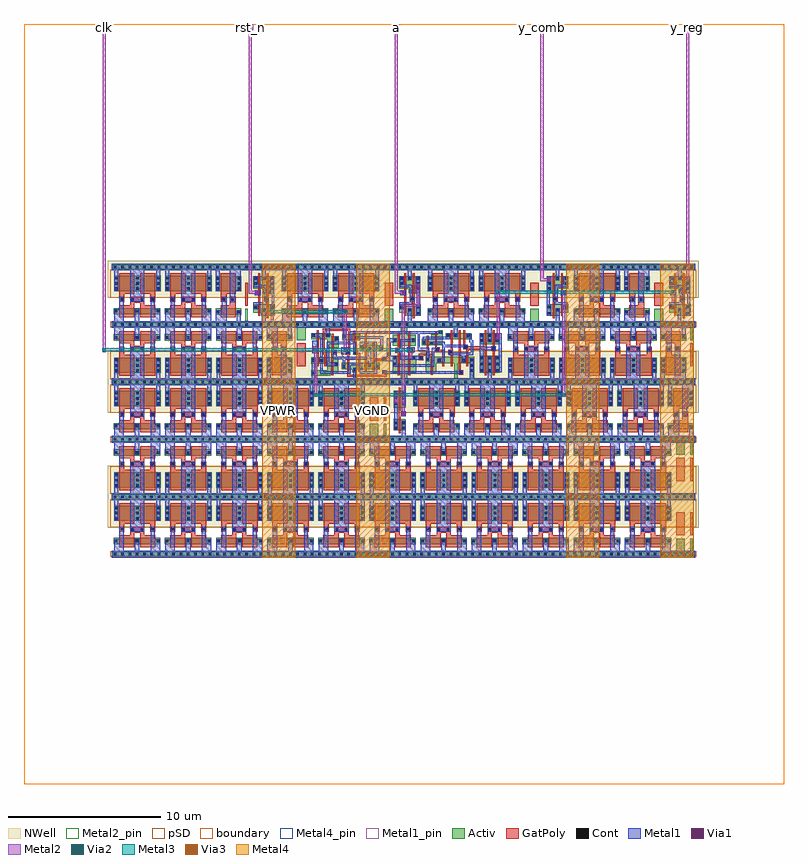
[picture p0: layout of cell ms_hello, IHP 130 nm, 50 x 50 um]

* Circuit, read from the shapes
.subckt ms_hello VGND VPWR a clk rst_n y_comb y_reg
XM1 VGND VPWR VGND VGND sg13_lv_nmos w=0.42u l=1u m=95
XM2 VGND rst_n n1 VGND sg13_lv_nmos w=0.55u l=0.13u
XM3 sg13g2_dfrbpq_1_16/RESET_B n1 VGND VGND sg13_lv_nmos w=0.74u l=0.13u
XM4 n2 sg13g2_buf_1_30/A n3 VGND sg13_lv_nmos w=0.42u l=0.13u
XM5 VGND sg13g2_dfrbpq_1_16/RESET_B n2 VGND sg13_lv_nmos w=0.42u l=0.13u
XM6 n4 n5 VGND VGND sg13_lv_nmos w=0.74u l=0.13u
XM7 n6 sg13g2_dfrbpq_1_16/RESET_B VGND VGND sg13_lv_nmos w=0.42u l=0.13u
XM8 n7 n4 n6 VGND sg13_lv_nmos w=0.42u l=0.13u
XM9 n5 n8 n3 VGND sg13_lv_nmos w=0.42u l=0.13u
XM10 n7 n9 n5 VGND sg13_lv_nmos w=0.42u l=0.13u
XM11 VGND n8 n9 VGND sg13_lv_nmos w=0.74u l=0.13u
XM12 VGND sg13g2_inv_1_15/A sg13g2_buf_1_30/A VGND sg13_lv_nmos w=0.74u l=0.13u
XM13 VGND a n10 VGND sg13_lv_nmos w=0.55u l=0.13u
XM14 n8 clk VGND VGND sg13_lv_nmos w=0.74u l=0.13u
XM15 sg13g2_inv_1_15/A n10 VGND VGND sg13_lv_nmos w=0.74u l=0.13u
XM16 n11 n8 n12 VGND sg13_lv_nmos w=0.42u l=0.13u
XM17 n4 n9 n11 VGND sg13_lv_nmos w=0.74u l=0.13u
XM18 VGND n13 n12 VGND sg13_lv_nmos w=0.42u l=0.13u
XM19 n14 sg13g2_dfrbpq_1_16/RESET_B VGND VGND sg13_lv_nmos w=0.42u l=0.13u
XM20 n13 n11 n14 VGND sg13_lv_nmos w=0.42u l=0.13u
XM21 VGND n11 n15 VGND sg13_lv_nmos w=0.74u l=0.13u
XM22 sg13g2_buf_1_28/A n15 VGND VGND sg13_lv_nmos w=0.74u l=0.13u
XM23 VGND n16 y_comb VGND sg13_lv_nmos w=0.74u l=0.13u
XM24 n16 sg13g2_buf_1_30/A VGND VGND sg13_lv_nmos w=0.55u l=0.13u
XM25 VGND sg13g2_buf_1_28/A n17 VGND sg13_lv_nmos w=0.55u l=0.13u
XM26 y_reg n17 VGND VGND sg13_lv_nmos w=0.74u l=0.13u
XM27 VPWR VGND VPWR VPWR sg13_lv_pmos w=1u l=1u m=95
XM28 VPWR rst_n n1 VPWR sg13_lv_pmos w=0.84u l=0.13u
XM29 sg13g2_dfrbpq_1_16/RESET_B n1 VPWR VPWR sg13_lv_pmos w=1.12u l=0.13u
XM30 n3 sg13g2_buf_1_30/A VPWR VPWR sg13_lv_pmos w=0.42u l=0.13u
XM31 VPWR sg13g2_dfrbpq_1_16/RESET_B n3 VPWR sg13_lv_pmos w=0.42u l=0.13u
XM32 n4 n5 VPWR VPWR sg13_lv_pmos w=1u l=0.13u
XM33 VPWR sg13g2_dfrbpq_1_16/RESET_B n5 VPWR sg13_lv_pmos w=0.42u l=0.13u
XM34 n18 n4 VPWR VPWR sg13_lv_pmos w=0.42u l=0.13u
XM35 n5 n8 n18 VPWR sg13_lv_pmos w=0.42u l=0.13u
XM36 n3 n9 n5 VPWR sg13_lv_pmos w=0.42u l=0.13u
XM37 VPWR n8 n9 VPWR sg13_lv_pmos w=1.12u l=0.13u
XM38 VPWR sg13g2_inv_1_15/A sg13g2_buf_1_30/A VPWR sg13_lv_pmos w=1.12u l=0.13u
XM39 VPWR a n10 VPWR sg13_lv_pmos w=0.84u l=0.13u
XM40 n8 clk VPWR VPWR sg13_lv_pmos w=1.12u l=0.13u
XM41 sg13g2_inv_1_15/A n10 VPWR VPWR sg13_lv_pmos w=1.12u l=0.13u
XM42 n11 n8 n4 VPWR sg13_lv_pmos w=1u l=0.13u
XM43 n19 n9 n11 VPWR sg13_lv_pmos w=0.42u l=0.13u
XM44 VPWR n13 n19 VPWR sg13_lv_pmos w=0.42u l=0.13u
XM45 n13 sg13g2_dfrbpq_1_16/RESET_B VPWR VPWR sg13_lv_pmos w=0.42u l=0.13u
XM46 VPWR n11 n13 VPWR sg13_lv_pmos w=0.42u l=0.13u
XM47 VPWR n11 n15 VPWR sg13_lv_pmos w=1.12u l=0.13u
XM48 sg13g2_buf_1_28/A n15 VPWR VPWR sg13_lv_pmos w=1.12u l=0.13u
XM49 VPWR n16 y_comb VPWR sg13_lv_pmos w=1.12u l=0.13u
XM50 n16 sg13g2_buf_1_30/A VPWR VPWR sg13_lv_pmos w=0.84u l=0.13u
XM51 VPWR sg13g2_buf_1_28/A n17 VPWR sg13_lv_pmos w=0.84u l=0.13u
XM52 y_reg n17 VPWR VPWR sg13_lv_pmos w=1.12u l=0.13u
.ends

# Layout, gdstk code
from math import pi, radians
import gdstk
lib = gdstk.Library(unit=1e-6, precision=1e-09)
def R(c, l, rs):  # rectangles x0, y0, x1, y1
    for r in rs: c.add(gdstk.rectangle(r[:2], r[2:], *l))
def A(c, l, x, y, w, h, nx, ny, dx, dy):  # array of equal rectangles
    R(c, l, [(x+i*dx, y+j*dy, x+i*dx+w, y+j*dy+h) for i in range(nx) for j in range(ny)])
def P(c, l, *ps):  # polygons
    for p in ps: c.add(gdstk.Polygon(p, *l))
Activ = (1, 0)
GatPoly = (5, 0)
Cont = (6, 0)
Metal1 = (8, 0)
Metal1_pin = (8, 2)
Metal2 = (10, 0)
Metal2_pin = (10, 2)
pSD = (14, 0)
Via1 = (19, 0)
Via2 = (29, 0)
Metal3 = (30, 0)
NWell = (31, 0)
Via3 = (49, 0)
Metal4 = (50, 0)
Metal4_pin = (50, 2)
boundary = (189, 4)

sg13g2_decap_8 = lib.new_cell('sg13g2_decap_8')
R(sg13g2_decap_8, Activ, [(0,-0.15,3.36,0.15), (0.155,0.65,3.215,1.07), (0.165,2.185,3.225,3.185), (0,3.63,3.36,3.93)])
P(sg13g2_decap_8, GatPoly, [(0.495,0.47),(0.495,1.25),(1.22,1.25),(1.22,1.805),(2.155,1.805),(2.155,1.25),(2.875,1.25),(2.875,0.47),(1.875,0.47),(1.875,1.415),(1.495,1.415),(1.495,0.47)],
  [(2.555,1.48),(2.555,2.005),(1.885,2.005),(1.885,3.365),(2.885,3.365),(2.885,1.48)],
  [(0.505,1.48),(0.505,3.365),(1.505,3.365),(1.505,2.005),(0.835,2.005),(0.835,1.48)])
A(sg13g2_decap_8, Cont, 0.16, -0.08, 0.16, 0.16, 7, 2, 0.48, 3.78)
A(sg13g2_decap_8, Cont, 0.225, 0.78, 0.16, 0.16, 3, 1, 1.38, 0)
A(sg13g2_decap_8, Cont, 0.235, 2.275, 0.16, 0.16, 3, 3, 1.38, 0.34)
R(sg13g2_decap_8, Cont, [(1.3,1.555,1.46,1.715), (1.905,1.555,2.065,1.715), (0.59,1.56,0.75,1.72), (2.63,1.56,2.79,1.72)])
P(sg13g2_decap_8, Metal1, [(0,-0.22),(0,0.22),(0.175,0.22),(0.175,0.99),(0.52,0.99),(0.52,1.81),(0.81,1.81),(0.81,0.22),(1.53,0.22),(1.53,1.03),(1.835,1.03),(1.835,0.22),(2.585,0.22),(2.585,1.81),(2.835,1.81),(2.835,0.99),(3.195,0.99),(3.195,0.22),(3.36,0.22),(3.36,-0.22)],
  [(1.22,1.475),(1.22,3.56),(0.445,3.56),(0.445,2.205),(0.185,2.205),(0.185,3.56),(0,3.56),(0,4),(3.36,4),(3.36,3.56),(3.205,3.56),(3.205,2.21),(2.945,2.21),(2.945,3.56),(2.155,3.56),(2.155,1.475)])
R(sg13g2_decap_8, Metal1_pin, [(0,-0.22,3.36,0.22), (0,3.56,3.36,4)])
R(sg13g2_decap_8, pSD, [(-0.07,-0.18,3.43,0.18), (-0.07,1.76,3.43,3.6)])
R(sg13g2_decap_8, NWell, [(-0.24,1.75,3.6,4.17)])
R(sg13g2_decap_8, boundary, [(0,0,3.36,3.78)])
sg13g2_decap_8.add(gdstk.Label('VDD', (1.68,3.78), layer=8, texttype=25))
sg13g2_decap_8.add(gdstk.Label('VSS', (1.68,0), layer=8, texttype=25))

sg13g2_fill_2 = lib.new_cell('sg13g2_fill_2')
R(sg13g2_fill_2, Activ, [(0,-0.15,0.96,0.15), (0.2,0.15,0.76,1.03), (0,3.63,0.96,3.93)])
R(sg13g2_fill_2, GatPoly, [(0.2,1.23,0.76,2.75)])
R(sg13g2_fill_2, Cont, [(0.16,-0.08,0.32,0.08), (0.16,-0.08,0.32,0.08), (0.64,-0.08,0.8,0.08), (0.64,-0.08,0.8,0.08), (0.16,3.7,0.32,3.86), (0.16,3.7,0.32,3.86), (0.64,3.7,0.8,3.86), (0.64,3.7,0.8,3.86)])
R(sg13g2_fill_2, Metal1, [(0,-0.22,0.96,0.22), (0,3.56,0.96,4)])
R(sg13g2_fill_2, Metal1_pin, [(0,-0.22,0.96,0.22), (0,3.56,0.96,4)])
R(sg13g2_fill_2, pSD, [(-0.07,-0.18,1.03,0.18), (-0.07,1.76,1.03,3.6)])
R(sg13g2_fill_2, NWell, [(-0.24,1.75,1.2,4.17)])
R(sg13g2_fill_2, boundary, [(0,0,0.96,3.78)])
sg13g2_fill_2.add(gdstk.Label('VSS', (0.49,0), layer=8, texttype=25))
sg13g2_fill_2.add(gdstk.Label('VDD', (0.495,3.78), layer=8, texttype=25))

sg13g2_fill_1 = lib.new_cell('sg13g2_fill_1')
R(sg13g2_fill_1, Activ, [(0,-0.15,0.48,0.15), (0.16,0.15,0.32,1.03), (0,3.63,0.48,3.93)])
R(sg13g2_fill_1, GatPoly, [(0.16,1.23,0.32,2.75)])
R(sg13g2_fill_1, Cont, [(0.16,-0.08,0.32,0.08), (0.16,-0.08,0.32,0.08), (0.16,3.7,0.32,3.86), (0.16,3.7,0.32,3.86)])
R(sg13g2_fill_1, Metal1, [(0,-0.22,0.48,0.22), (0,3.56,0.48,4)])
R(sg13g2_fill_1, Metal1_pin, [(0,-0.22,0.48,0.22), (0,3.56,0.48,4)])
R(sg13g2_fill_1, pSD, [(-0.07,-0.18,0.55,0.18), (-0.07,1.76,0.55,3.6)])
R(sg13g2_fill_1, NWell, [(-0.24,1.75,0.72,4.17)])
R(sg13g2_fill_1, boundary, [(0,0,0.48,3.78)])
sg13g2_fill_1.add(gdstk.Label('VDD', (0.245,3.785), layer=8, texttype=25))
sg13g2_fill_1.add(gdstk.Label('VSS', (0.255,0), layer=8, texttype=25))

sg13g2_decap_4 = lib.new_cell('sg13g2_decap_4')
R(sg13g2_decap_4, Activ, [(0,-0.15,1.92,0.15), (0.12,0.645,1.8,1.065), (0.12,2.18,1.8,3.18), (0,3.63,1.92,3.93)])
P(sg13g2_decap_4, GatPoly, [(0.46,1.475),(0.46,3.36),(1.46,3.36),(1.46,2),(0.855,2),(0.855,1.475)],
  [(0.46,0.465),(0.46,1.245),(1.065,1.245),(1.065,1.8),(1.46,1.8),(1.46,0.465)])
A(sg13g2_decap_4, Cont, 0.16, -0.08, 0.16, 0.16, 4, 2, 0.48, 3.78)
A(sg13g2_decap_4, Cont, 0.19, 2.27, 0.16, 0.16, 1, 3, 0, 0.34)
A(sg13g2_decap_4, Cont, 1.57, 2.27, 0.16, 0.16, 1, 3, 0, 0.34)
R(sg13g2_decap_4, Cont, [(0.19,0.72,0.35,0.88), (1.57,0.72,1.73,0.88), (1.15,1.555,1.31,1.715), (0.61,1.56,0.77,1.72)])
P(sg13g2_decap_4, Metal1, [(0,-0.22),(0,0.22),(0.13,0.22),(0.13,0.935),(0.53,0.935),(0.53,1.805),(0.855,1.805),(0.855,0.22),(1.51,0.22),(1.51,0.935),(1.79,0.935),(1.79,0.22),(1.92,0.22),(1.92,-0.22)],
  [(1.065,1.47),(1.065,3.56),(0.4,3.56),(0.4,2.22),(0.13,2.22),(0.13,3.56),(0,3.56),(0,4),(1.92,4),(1.92,3.56),(1.79,3.56),(1.79,2.22),(1.405,2.22),(1.405,1.47)])
R(sg13g2_decap_4, Metal1_pin, [(0,-0.22,1.92,0.22), (0,3.56,1.92,4)])
R(sg13g2_decap_4, pSD, [(-0.07,-0.18,1.99,0.18), (-0.16,1.76,1.99,3.6)])
R(sg13g2_decap_4, NWell, [(-0.24,1.75,2.16,4.17)])
R(sg13g2_decap_4, boundary, [(0,0,1.92,3.78)])
sg13g2_decap_4.add(gdstk.Label('VDD', (0.95,3.78), layer=8, texttype=25))
sg13g2_decap_4.add(gdstk.Label('VSS', (1.08,0), layer=8, texttype=25))

sg13g2_inv_1 = lib.new_cell('sg13g2_inv_1')
R(sg13g2_inv_1, Activ, [(0,-0.15,1.44,0.15), (0.31,0.59,1.12,1.33), (0.31,2.075,1.12,3.195), (0,3.63,1.44,3.93)])
P(sg13g2_inv_1, GatPoly, [(0.65,0.41),(0.65,1.52),(0.31,1.52),(0.31,1.85),(0.65,1.85),(0.65,3.375),(0.78,3.375),(0.78,0.41)])
A(sg13g2_inv_1, Cont, 0.38, 2.285, 0.16, 0.16, 1, 3, 0, 0.34)
A(sg13g2_inv_1, Cont, 0.89, 2.285, 0.16, 0.16, 1, 3, 0, 0.34)
R(sg13g2_inv_1, Cont, [(0.16,-0.08,0.32,0.08), (0.16,-0.08,0.32,0.08), (0.64,-0.08,0.8,0.08), (0.64,-0.08,0.8,0.08), (1.12,-0.08,1.28,0.08), (1.12,-0.08,1.28,0.08), (0.38,0.66,0.54,0.82), (0.89,0.66,1.05,0.82), (0.38,1,0.54,1.16), (0.89,1,1.05,1.16), (0.395,1.605,0.555,1.765), (0.16,3.7,0.32,3.86), (0.16,3.7,0.32,3.86), (0.64,3.7,0.8,3.86), (0.64,3.7,0.8,3.86), (1.12,3.7,1.28,3.86), (1.12,3.7,1.28,3.86)])
R(sg13g2_inv_1, Metal1, [(0.855,0.61,1.085,3.175), (0.31,1.52,0.625,1.85)])
P(sg13g2_inv_1, Metal1, [(0.33,2.235),(0.33,3.56),(0,3.56),(0,4),(1.44,4),(1.44,3.56),(0.59,3.56),(0.59,2.235)],
  [(0,-0.22),(0,0.22),(0.33,0.22),(0.33,1.21),(0.59,1.21),(0.59,0.22),(1.44,0.22),(1.44,-0.22)])
R(sg13g2_inv_1, Metal1_pin, [(0,-0.22,1.44,0.22), (0.855,0.61,1.085,3.175), (0.31,1.52,0.625,1.85), (0,3.56,1.44,4)])
R(sg13g2_inv_1, pSD, [(-0.07,-0.18,1.51,0.18), (-0.07,1.76,1.51,3.6)])
R(sg13g2_inv_1, NWell, [(-0.24,1.75,1.68,4.17)])
R(sg13g2_inv_1, boundary, [(0,0,1.44,3.78)])
sg13g2_inv_1.add(gdstk.Label('Y', (0.98,1.69), layer=8, texttype=25))
sg13g2_inv_1.add(gdstk.Label('A', (0.48,1.68), layer=8, texttype=25))
sg13g2_inv_1.add(gdstk.Label('VSS', (0.72,-0.02), layer=8, texttype=25))
sg13g2_inv_1.add(gdstk.Label('VDD', (0.705,3.78), layer=8, texttype=25))

sg13g2_dfrbpq_1 = lib.new_cell('sg13g2_dfrbpq_1')
R(sg13g2_dfrbpq_1, Activ, [(9.03,0.57,10.66,0.99), (11.255,0.57,12.575,1.31), (2.215,0.635,3.4,1.055), (11.25,2.06,12.575,3.18), (0,3.63,12.96,3.93)])
P(sg13g2_dfrbpq_1, Activ, [(0,-0.15),(0,0.15),(6.075,0.15),(6.075,0.675),(5.535,0.675),(5.535,1.415),(7.045,1.415),(7.045,0.675),(6.505,0.675),(6.505,0.15),(12.96,0.15),(12.96,-0.15)],
  [(7.695,2.145),(7.695,3.145),(8.415,3.145),(8.415,2.565),(9.57,2.565),(9.57,3.63),(9.81,3.63),(9.81,2.565),(10.59,2.565),(10.59,3.63),(10.89,3.63),(10.89,2.145)],
  [(8.52,0.39),(8.52,0.635),(8.06,0.635),(8.06,0.955),(7.445,0.955),(7.445,1.375),(8.82,1.375),(8.82,0.39)],
  [(5.53,2.05),(5.53,3.17),(6.075,3.17),(6.075,3.63),(6.505,3.63),(6.505,3.17),(7.07,3.17),(7.07,2.05)],
  [(3.365,1.36),(3.365,1.66),(3.475,1.66),(3.475,1.78),(4.91,1.78),(4.91,1.36)],
  [(2.19,2.525),(2.19,2.945),(2.88,2.945),(2.88,3.14),(3.18,3.14),(3.18,2.945),(4.685,2.945),(4.685,2.525)],
  [(0.19,0.57),(0.19,0.99),(1.245,0.99),(1.245,1.535),(2,1.535),(2,0.795),(1.445,0.795),(1.445,0.57)],
  [(0.19,2.16),(0.19,2.58),(1.24,2.58),(1.24,3.01),(0.19,3.01),(0.19,3.395),(1.415,3.395),(1.415,3.16),(1.96,3.16),(1.96,2.16)])
R(sg13g2_dfrbpq_1, GatPoly, [(12.105,0.39,12.235,3.36), (12.02,1.445,12.32,1.745)])
P(sg13g2_dfrbpq_1, GatPoly, [(9.88,0.39),(9.88,3.305),(10.18,3.305),(10.18,3.005),(10.01,3.005),(10.01,0.39)],
  [(10.19,0.39),(10.19,1.635),(10.39,1.635),(10.39,2.745),(10.52,2.745),(10.52,1.635),(11.595,1.635),(11.595,3.36),(11.725,3.36),(11.725,0.39),(11.595,0.39),(11.595,1.45),(10.49,1.45),(10.49,1.335),(10.32,1.335),(10.32,0.39)],
  [(3.705,0.465),(3.705,3.125),(3.835,3.125),(3.835,0.605),(5.875,0.605),(5.875,1.555),(5.705,1.555),(5.705,1.855),(5.875,1.855),(5.875,3.35),(6.005,3.35),(6.005,0.465)],
  [(0.53,0.39),(0.53,1.455),(0.235,1.455),(0.235,1.755),(0.53,1.755),(0.53,2.76),(0.66,2.76),(0.66,0.39)],
  [(9.37,0.39),(9.37,1.67),(9.2,1.67),(9.2,1.97),(9.37,1.97),(9.37,2.745),(9.5,2.745),(9.5,0.39)],
  [(7.785,0.765),(7.785,1.92),(7.245,1.92),(7.245,2.35),(7.545,2.35),(7.545,2.07),(8.035,2.07),(8.035,3.325),(8.165,3.325),(8.165,1.92),(7.915,1.92),(7.915,0.765)],
  [(6.575,0.495),(6.575,3.35),(6.705,3.35),(6.705,1.855),(6.875,1.855),(6.875,1.555),(6.705,1.555),(6.705,0.495)],
  [(4.215,1.18),(4.215,3.125),(4.345,3.125),(4.345,2.44),(5.135,2.44),(5.135,2.14),(4.835,2.14),(4.835,2.29),(4.345,2.29),(4.345,1.18)],
  [(2.93,0.425),(2.93,1.985),(3.275,1.985),(3.275,3.125),(3.405,3.125),(3.405,1.855),(3.23,1.855),(3.23,1.685),(3.06,1.685),(3.06,0.425)],
  [(0.95,0.295),(0.95,1.98),(1.04,1.98),(1.04,2.76),(1.17,2.76),(1.17,1.685),(1.08,1.685),(1.08,0.43),(2.62,0.43),(2.62,1.685),(2.45,1.685),(2.45,1.985),(2.54,1.985),(2.54,3.435),(5.135,3.435),(5.135,3.005),(4.835,3.005),(4.835,3.305),(2.67,3.305),(2.67,1.985),(2.75,1.985),(2.75,0.295)],
  [(1.53,0.615),(1.53,1.685),(1.49,1.685),(1.49,3.34),(1.62,3.34),(1.62,1.985),(1.865,1.985),(1.865,1.685),(1.66,1.685),(1.66,0.615)],
  [(8.32,0.445),(8.32,1.805),(8.795,1.805),(8.795,2.745),(8.925,2.745),(8.925,1.66),(8.62,1.66),(8.62,1.505),(8.45,1.505),(8.45,0.445)])
A(sg13g2_dfrbpq_1, Cont, 0.16, -0.08, 0.16, 0.16, 27, 2, 0.48, 3.78)
A(sg13g2_dfrbpq_1, Cont, 11.325, 0.64, 0.16, 0.16, 3, 2, 0.51, 0.34)
A(sg13g2_dfrbpq_1, Cont, 11.32, 2.135, 0.16, 0.16, 1, 3, 0, 0.405)
A(sg13g2_dfrbpq_1, Cont, 11.835, 2.135, 0.16, 0.16, 1, 3, 0, 0.405)
A(sg13g2_dfrbpq_1, Cont, 12.345, 2.135, 0.16, 0.16, 1, 3, 0, 0.405)
A(sg13g2_dfrbpq_1, Cont, 10.66, 2.275, 0.16, 0.16, 1, 3, 0, 0.34)
R(sg13g2_dfrbpq_1, Cont, [(8.59,0.465,8.75,0.625), (0.26,0.64,0.42,0.8), (1.19,0.64,1.35,0.8), (9.1,0.64,9.26,0.8), (9.61,0.64,9.77,0.8), (10.43,0.64,10.59,0.8), (2.285,0.705,2.445,0.865), (3.17,0.795,3.33,0.955), (1.77,0.88,1.93,1.04), (5.605,0.97,5.765,1.13), (6.815,0.97,6.975,1.13), (7.515,1.075,7.675,1.235), (8.025,1.145,8.185,1.305), (10.26,1.405,10.42,1.565), (3.435,1.43,3.595,1.59), (4.68,1.49,4.84,1.65), (12.09,1.515,12.25,1.675), (0.305,1.525,0.465,1.685), (3.945,1.55,4.105,1.71), (8.39,1.575,8.55,1.735), (5.775,1.625,5.935,1.785), (6.645,1.625,6.805,1.785), (9.27,1.74,9.43,1.9), (1.635,1.755,1.795,1.915), (2.52,1.755,2.68,1.915), (3,1.755,3.16,1.915), (5.6,2.12,5.76,2.28), (6.84,2.12,7,2.28), (7.315,2.12,7.475,2.28), (4.905,2.21,5.065,2.37), (7.765,2.215,7.925,2.375), (8.525,2.275,8.685,2.435), (10.12,2.275,10.28,2.435), (0.26,2.29,0.42,2.45), (0.77,2.29,0.93,2.45), (5.6,2.54,5.76,2.7), (1.73,2.55,1.89,2.71), (3.945,2.595,4.105,2.755), (2.26,2.69,2.42,2.85), (4.455,2.705,4.615,2.865), (2.95,2.91,3.11,3.07), (4.905,3.075,5.065,3.235), (9.95,3.075,10.11,3.235), (0.265,3.12,0.425,3.28)])
R(sg13g2_dfrbpq_1, Metal1, [(0.255,1.07,0.6,1.89), (2.145,1.51,2.75,1.965), (6.45,1.52,6.99,1.84)])
P(sg13g2_dfrbpq_1, Metal1, [(10.38,0.625),(10.38,0.885),(10.57,0.885),(10.57,1.19),(10.675,1.19),(10.675,1.86),(9.48,1.86),(9.48,1.69),(9.22,1.69),(9.22,2.02),(10.07,2.02),(10.07,2.495),(10.33,2.495),(10.33,2.02),(10.835,2.02),(10.835,1.03),(10.73,1.03),(10.73,0.625)],
  [(11.275,0.59),(11.275,3.155),(11.535,3.155),(11.535,1.71),(12.02,1.71),(12.02,1.745),(12.32,1.745),(12.32,1.445),(12.02,1.445),(12.02,1.485),(11.535,1.485),(11.535,0.59)],
  [(12.275,0.59),(12.275,1.19),(12.5,1.19),(12.5,2.095),(12.295,2.095),(12.295,3.155),(12.71,3.155),(12.71,0.59)],
  [(4.855,3.025),(4.855,3.285),(5.115,3.285),(5.115,3.235),(9.91,3.235),(9.91,3.285),(10.16,3.285),(10.16,3.025),(9.91,3.025),(9.91,3.075),(5.115,3.075),(5.115,3.025)],
  [(6.755,0.92),(6.755,0.98),(6.02,0.98),(6.02,1.575),(5.725,1.575),(5.725,1.835),(6.02,1.835),(6.02,2.33),(7.525,2.33),(7.525,2.07),(6.18,2.07),(6.18,1.14),(6.755,1.14),(6.755,1.18),(6.99,1.18),(6.99,0.92)],
  [(0.21,0.59),(0.21,0.85),(0.785,0.85),(0.785,2.24),(0.72,2.24),(0.72,2.5),(0.785,2.5),(0.785,3.24),(2.765,3.24),(2.765,2.68),(3.365,2.68),(3.365,3.24),(4.505,3.24),(4.505,2.915),(4.665,2.915),(4.665,2.655),(4.48,2.655),(4.48,1.16),(3.385,1.16),(3.385,1.64),(3.645,1.64),(3.645,1.32),(4.32,1.32),(4.32,3.08),(3.535,3.08),(3.535,2.52),(2.605,2.52),(2.605,3.08),(0.95,3.08),(0.95,2.5),(0.98,2.5),(0.98,2.24),(0.95,2.24),(0.95,0.59)],
  [(0,-0.22),(0,0.22),(1.14,0.22),(1.14,0.85),(1.41,0.85),(1.41,0.22),(2.235,0.22),(2.235,0.915),(2.495,0.915),(2.495,0.22),(9.56,0.22),(9.56,0.85),(9.82,0.85),(9.82,0.22),(11.785,0.22),(11.785,1.19),(12.045,1.19),(12.045,0.22),(12.96,0.22),(12.96,-0.22)],
  [(5.145,0.92),(5.145,2.16),(4.855,2.16),(4.855,2.42),(5.55,2.42),(5.55,2.8),(8.275,2.8),(8.275,1.785),(8.6,1.785),(8.6,1.525),(8.115,1.525),(8.115,2.63),(5.81,2.63),(5.81,2.07),(5.42,2.07),(5.42,1.18),(5.815,1.18),(5.815,0.92)],
  [(11.785,2.1),(11.785,3.56),(10.875,3.56),(10.875,2.225),(10.61,2.225),(10.61,3.56),(3.115,3.56),(3.115,2.86),(2.945,2.86),(2.945,3.56),(0.475,3.56),(0.475,2.24),(0.215,2.24),(0.215,3.56),(0,3.56),(0,4),(12.96,4),(12.96,3.56),(12.045,3.56),(12.045,2.1)],
  [(7.96,1.145),(7.96,1.315),(8.79,1.315),(8.79,2.225),(8.475,2.225),(8.475,2.485),(8.95,2.485),(8.95,1.51),(10.165,1.51),(10.165,1.625),(10.47,1.625),(10.47,1.35),(8.97,1.35),(8.97,1.145)],
  [(9.05,0.59),(9.05,0.805),(7.51,0.805),(7.51,1.31),(7.725,1.31),(7.725,0.965),(9.31,0.965),(9.31,0.59)],
  [(3.12,0.785),(3.12,0.96),(4.725,0.96),(4.725,1.44),(4.66,1.44),(4.66,1.7),(4.905,1.7),(4.905,0.785)],
  [(3.895,1.5),(3.895,2.145),(1.845,2.145),(1.845,1.705),(1.585,1.705),(1.585,2.305),(2.245,2.305),(2.245,2.9),(2.425,2.9),(2.425,2.315),(3.895,2.315),(3.895,2.805),(4.115,2.805),(4.115,1.5)],
  [(2.705,0.44),(2.705,1.15),(1.98,1.15),(1.98,0.815),(1.72,0.815),(1.72,1.15),(1.2,1.15),(1.2,2.76),(1.94,2.76),(1.94,2.5),(1.36,2.5),(1.36,1.31),(2.95,1.31),(2.95,1.965),(3.21,1.965),(3.21,1.705),(3.11,1.705),(3.11,1.15),(2.875,1.15),(2.875,0.605),(7.17,0.605),(7.17,1.725),(7.745,1.725),(7.745,2.425),(7.935,2.425),(7.935,1.555),(7.33,1.555),(7.33,0.605),(8.54,0.605),(8.54,0.625),(8.8,0.625),(8.8,0.44)])
R(sg13g2_dfrbpq_1, Metal1_pin, [(0,-0.22,12.96,0.22), (0.255,1.07,0.6,1.89), (2.145,1.51,2.75,1.965), (6.45,1.52,6.99,1.84), (12.295,2.095,12.71,3.155), (0,3.56,12.96,4)])
R(sg13g2_dfrbpq_1, pSD, [(-0.07,-0.18,13.03,0.18)])
P(sg13g2_dfrbpq_1, pSD, [(10.555,1.66),(10.555,1.76),(7.245,1.76),(7.245,1.75),(5.23,1.75),(5.23,2.225),(2.255,2.225),(2.255,1.835),(0.945,1.835),(0.945,1.76),(-0.07,1.76),(-0.07,3.6),(13.03,3.6),(13.03,1.76),(12.56,1.76),(12.56,1.66)])
P(sg13g2_dfrbpq_1, NWell, [(5.22,1.74),(5.22,2.215),(2.27,2.215),(2.27,1.85),(0.935,1.85),(0.935,1.75),(-0.24,1.75),(-0.24,4.17),(13.2,4.17),(13.2,1.75),(10.655,1.75),(10.655,1.835),(7.315,1.835),(7.315,1.74)])
R(sg13g2_dfrbpq_1, boundary, [(0,0,12.96,3.78)])
sg13g2_dfrbpq_1.add(gdstk.Label('CLK', (6.69,1.655), layer=8, texttype=25))
sg13g2_dfrbpq_1.add(gdstk.Label('VSS', (6.77,0), layer=8, texttype=25))
sg13g2_dfrbpq_1.add(gdstk.Label('D', (0.325,1.53), layer=8, texttype=25))
sg13g2_dfrbpq_1.add(gdstk.Label('Q', (12.49,2.61), layer=8, texttype=25))
sg13g2_dfrbpq_1.add(gdstk.Label('VDD', (4.635,3.78), layer=8, texttype=25))
sg13g2_dfrbpq_1.add(gdstk.Label('RESET_B', (2.385,1.73), layer=8, texttype=25))

sg13g2_buf_1 = lib.new_cell('sg13g2_buf_1')
R(sg13g2_buf_1, Activ, [(0,-0.15,1.92,0.15), (0,3.63,1.92,3.93)])
P(sg13g2_buf_1, Activ, [(0.74,0.57),(0.74,0.76),(0.2,0.76),(0.2,1.31),(1.61,1.31),(1.61,0.57)],
  [(0.84,2.06),(0.84,2.34),(0.2,2.34),(0.2,3.18),(1.595,3.18),(1.595,2.06)])
P(sg13g2_buf_1, GatPoly, [(1.09,0.39),(1.09,1.5),(0.92,1.5),(0.92,1.83),(1.09,1.83),(1.09,3.36),(1.22,3.36),(1.22,0.39)],
  [(0.54,0.58),(0.54,1.93),(0.365,1.93),(0.365,2.23),(0.54,2.23),(0.54,3.36),(0.67,3.36),(0.67,0.58)])
A(sg13g2_buf_1, Cont, 0.16, -0.08, 0.16, 0.16, 4, 2, 0.48, 3.78)
A(sg13g2_buf_1, Cont, 1.365, 2.27, 0.16, 0.16, 1, 3, 0, 0.34)
R(sg13g2_buf_1, Cont, [(1.38,0.65,1.54,0.81), (0.82,0.85,0.98,1.01), (1.38,1.065,1.54,1.225), (0.27,1.075,0.43,1.235), (0.99,1.585,1.15,1.745), (0.435,2,0.595,2.16), (0.27,2.61,0.43,2.77), (0.27,2.95,0.43,3.11), (0.82,2.95,0.98,3.11)])
R(sg13g2_buf_1, Metal1, [(0.285,1.93,0.68,2.26)])
P(sg13g2_buf_1, Metal1, [(0.215,1),(0.215,1.465),(0.9,1.465),(0.9,2.44),(0.24,2.44),(0.24,3.18),(0.51,3.18),(0.51,2.62),(1.07,2.62),(1.07,1.83),(1.225,1.83),(1.225,1.5),(1.07,1.5),(1.07,1.29),(0.515,1.29),(0.515,1)],
  [(1.31,0.55),(1.31,1.29),(1.41,1.29),(1.41,2.02),(1.3,2.02),(1.3,3.18),(1.6,3.18),(1.6,0.55)],
  [(0,-0.22),(0,0.22),(0.765,0.22),(0.765,1.07),(1.015,1.07),(1.015,0.22),(1.92,0.22),(1.92,-0.22)],
  [(0.77,2.89),(0.77,3.56),(0,3.56),(0,4),(1.92,4),(1.92,3.56),(1.03,3.56),(1.03,2.89)])
R(sg13g2_buf_1, Metal1_pin, [(0,-0.22,1.92,0.22), (0.285,1.93,0.68,2.26), (1.315,2.07,1.58,2.945), (1.315,2.07,1.58,2.945), (0,3.56,1.92,4)])
R(sg13g2_buf_1, pSD, [(-0.065,-0.18,1.99,0.18), (-0.065,1.76,1.99,3.6)])
R(sg13g2_buf_1, NWell, [(-0.24,1.75,2.16,4.17)])
R(sg13g2_buf_1, boundary, [(0,0,1.92,3.78)])
sg13g2_buf_1.add(gdstk.Label('X', (1.45,2.51), layer=8, texttype=25))
sg13g2_buf_1.add(gdstk.Label('A', (0.53,2.1), layer=8, texttype=25))
sg13g2_buf_1.add(gdstk.Label('VSS', (0.98,-0.01), layer=8, texttype=25))
sg13g2_buf_1.add(gdstk.Label('VDD', (1.07,3.83), layer=8, texttype=25))

via_via3_4_2200_440_1_5_ = lib.new_cell('VIA_via3_4_2200_440_1_5_410_410')
R(via_via3_4_2200_440_1_5_, Metal3, [(-0.965,-0.1,0.965,0.1)])
A(via_via3_4_2200_440_1_5_, Via3, -0.915, -0.095, 0.19, 0.19, 5, 1, 0.41, 0)
R(via_via3_4_2200_440_1_5_, Metal4, [(-1.1,-0.145,1.1,0.145)])

via_via2_3_2200_440_1_5_ = lib.new_cell('VIA_via2_3_2200_440_1_5_410_410')
R(via_via2_3_2200_440_1_5_, Metal2, [(-0.92,-0.145,0.92,0.145)])
A(via_via2_3_2200_440_1_5_, Via2, -0.915, -0.095, 0.19, 0.19, 5, 1, 0.41, 0)
R(via_via2_3_2200_440_1_5_, Metal3, [(-0.965,-0.1,0.965,0.1)])

via_via1_2_2200_440_1_5_ = lib.new_cell('VIA_via1_2_2200_440_1_5_410_410')
R(via_via1_2_2200_440_1_5_, Metal1, [(-0.965,-0.22,0.965,0.22)])
R(via_via1_2_2200_440_1_5_, Metal2, [(-0.92,-0.145,0.92,0.145)])
A(via_via1_2_2200_440_1_5_, Via1, -0.915, -0.095, 0.19, 0.19, 5, 1, 0.41, 0)

via_via1_xy = lib.new_cell('VIA_Via1_XY')
R(via_via1_xy, Metal1, [(-0.145,-0.105,0.145,0.105)])
R(via_via1_xy, Metal2, [(-0.1,-0.145,0.1,0.145)])
R(via_via1_xy, Via1, [(-0.095,-0.095,0.095,0.095)])

via_via2_yx = lib.new_cell('VIA_Via2_YX')
R(via_via2_yx, Metal2, [(-0.105,-0.145,0.105,0.145)])
R(via_via2_yx, Via2, [(-0.095,-0.095,0.095,0.095)])
R(via_via2_yx, Metal3, [(-0.145,-0.1,0.145,0.1)])

via_via1_yy = lib.new_cell('VIA_Via1_YY')
R(via_via1_yy, Metal1, [(-0.105,-0.145,0.105,0.145)])
R(via_via1_yy, Metal2, [(-0.1,-0.145,0.1,0.145)])
R(via_via1_yy, Via1, [(-0.095,-0.095,0.095,0.095)])

ms_hello = lib.new_cell('ms_hello')
A(ms_hello, Metal2, 5.08, 49.6, 0.4, 0.4, 5, 1, 9.6, 0)
R(ms_hello, Metal2, [(24.38,25.05,24.58,25.62), (25.34,27.99,25.54,28.56), (16.22,30.51,16.42,31.08), (42.62,31.77,42.82,32.34)])
A(ms_hello, Metal2_pin, 5.08, 49.6, 0.4, 0.4, 5, 1, 9.6, 0)
R(ms_hello, Metal4, [(15.66,14.9,17.86,34.24), (21.86,14.9,24.06,34.24), (35.66,14.9,37.86,34.24), (41.86,14.9,44.06,34.24)])
R(ms_hello, Metal4_pin, [(15.66,14.9,17.86,34.24), (21.86,14.9,24.06,34.24), (35.66,14.9,37.86,34.24), (41.86,14.9,44.06,34.24)])
R(ms_hello, boundary, [(0,0,50,50)])
ms_hello.add(gdstk.FlexPath([(5.76,30.24),(44.16,30.24)], 0.44, ends="flush", simple_path=True, layer=8, datatype=0))  # Metal1
ms_hello.add(gdstk.FlexPath([(5.76,22.68),(44.16,22.68)], 0.44, ends="flush", simple_path=True, layer=8, datatype=0))  # Metal1
ms_hello.add(gdstk.FlexPath([(5.76,15.12),(44.16,15.12)], 0.44, ends="flush", simple_path=True, layer=8, datatype=0))  # Metal1
ms_hello.add(gdstk.FlexPath([(5.76,34.02),(44.16,34.02)], 0.44, ends="flush", simple_path=True, layer=8, datatype=0))  # Metal1
ms_hello.add(gdstk.FlexPath([(5.76,26.46),(44.16,26.46)], 0.44, ends="flush", simple_path=True, layer=8, datatype=0))  # Metal1
ms_hello.add(gdstk.FlexPath([(5.76,18.9),(44.16,18.9)], 0.44, ends="flush", simple_path=True, layer=8, datatype=0))  # Metal1
ms_hello.add(gdstk.FlexPath([(24.48,32.34),(24.48,49.8)], 0.2, ends=(0.1, 0), simple_path=True, layer=10, datatype=0))  # Metal2
ms_hello.add(gdstk.FlexPath([(24.48,32.34),(24.96,32.34)], 0.2, ends="extended", simple_path=True, layer=10, datatype=0))  # Metal2
ms_hello.add(gdstk.FlexPath([(5.28,28.56),(5.28,49.8)], 0.2, ends=(0.1, 0), simple_path=True, layer=10, datatype=0))  # Metal2
ms_hello.add(gdstk.FlexPath([(24.96,24.36),(24.96,31.5)], 0.2, ends="extended", simple_path=True, layer=10, datatype=0))  # Metal2
ms_hello.add(gdstk.FlexPath([(24.96,31.5),(25.92,31.5)], 0.2, ends="extended", simple_path=True, layer=10, datatype=0))  # Metal2
ms_hello.add(gdstk.FlexPath([(25.92,31.5),(25.92,32.76)], 0.2, ends="extended", simple_path=True, layer=10, datatype=0))  # Metal2
ms_hello.add(gdstk.FlexPath([(21.12,28.56),(21.12,31.08)], 0.2, ends="extended", simple_path=True, layer=10, datatype=0))  # Metal2
ms_hello.add(gdstk.FlexPath([(35.52,25.62),(35.52,32.34)], 0.2, ends="extended", simple_path=True, layer=10, datatype=0))  # Metal2
ms_hello.add(gdstk.FlexPath([(19.2,25.62),(19.2,28.56)], 0.2, ends="extended", simple_path=True, layer=10, datatype=0))  # Metal2
ms_hello.add(gdstk.FlexPath([(31.2,29.4),(31.2,32.34)], 0.2, ends="extended", simple_path=True, layer=10, datatype=0))  # Metal2
ms_hello.add(gdstk.FlexPath([(14.88,32.34),(14.88,49.8)], 0.2, ends=(0.1, 0), simple_path=True, layer=10, datatype=0))  # Metal2
ms_hello.add(gdstk.FlexPath([(14.88,32.34),(15.36,32.34)], 0.2, ends="extended", simple_path=True, layer=10, datatype=0))  # Metal2
ms_hello.add(gdstk.FlexPath([(34.08,33.18),(34.56,33.18)], 0.2, ends="extended", simple_path=True, layer=10, datatype=0))  # Metal2
ms_hello.add(gdstk.FlexPath([(34.08,33.18),(34.08,49.8)], 0.2, ends=(0.1, 0), simple_path=True, layer=10, datatype=0))  # Metal2
ms_hello.add(gdstk.FlexPath([(43.68,33.18),(43.68,49.8)], 0.2, ends=(0.1, 0), simple_path=True, layer=10, datatype=0))  # Metal2
ms_hello.add(gdstk.FlexPath([(5.28,28.56),(25.44,28.56)], 0.2, ends="extended", simple_path=True, layer=30, datatype=0))  # Metal3
ms_hello.add(gdstk.FlexPath([(16.32,31.08),(21.12,31.08)], 0.2, ends="extended", simple_path=True, layer=30, datatype=0))  # Metal3
ms_hello.add(gdstk.FlexPath([(24.48,25.62),(35.52,25.62)], 0.2, ends="extended", simple_path=True, layer=30, datatype=0))  # Metal3
ms_hello.add(gdstk.FlexPath([(19.2,25.62),(24.48,25.62)], 0.2, ends="extended", simple_path=True, layer=30, datatype=0))  # Metal3
ms_hello.add(gdstk.FlexPath([(31.2,32.34),(42.72,32.34)], 0.2, ends="extended", simple_path=True, layer=30, datatype=0))  # Metal3
ms_hello.add(gdstk.FlexPath([(42.96,14.9),(42.96,34.24)], 2.2, ends="flush", simple_path=True, layer=50, datatype=0))  # Metal4
ms_hello.add(gdstk.FlexPath([(22.96,14.9),(22.96,34.24)], 2.2, ends="flush", simple_path=True, layer=50, datatype=0))  # Metal4
ms_hello.add(gdstk.FlexPath([(36.76,14.9),(36.76,34.24)], 2.2, ends="flush", simple_path=True, layer=50, datatype=0))  # Metal4
ms_hello.add(gdstk.FlexPath([(16.76,14.9),(16.76,34.24)], 2.2, ends="flush", simple_path=True, layer=50, datatype=0))  # Metal4
ms_hello.add(gdstk.Reference(sg13g2_decap_8, (9.12,22.68)))
ms_hello.add(gdstk.Reference(sg13g2_decap_8, (38.88,22.68)))
ms_hello.add(gdstk.Reference(sg13g2_decap_8, (35.52,22.68)))
ms_hello.add(gdstk.Reference(sg13g2_decap_8, (32.16,22.68)))
ms_hello.add(gdstk.Reference(sg13g2_decap_8, (25.44,22.68)))
ms_hello.add(gdstk.Reference(sg13g2_decap_8, (19.2,22.68)))
ms_hello.add(gdstk.Reference(sg13g2_decap_8, (15.84,22.68)))
ms_hello.add(gdstk.Reference(sg13g2_decap_8, (12.48,22.68)))
ms_hello.add(gdstk.Reference(sg13g2_decap_8, (5.76,22.68)))
ms_hello.add(gdstk.Reference(sg13g2_decap_8, (28.8,22.68)))
ms_hello.add(gdstk.Reference(sg13g2_decap_8, (22.56,15.12)))
ms_hello.add(gdstk.Reference(sg13g2_decap_8, (22.56,22.68), x_reflection=True))
ms_hello.add(gdstk.Reference(sg13g2_fill_2, (22.56,22.68)))
ms_hello.add(gdstk.Reference(sg13g2_fill_1, (23.52,22.68)))
ms_hello.add(gdstk.Reference(sg13g2_decap_4, (42.24,22.68)))
ms_hello.add(gdstk.Reference(sg13g2_inv_1, (25.44,22.68), rotation=pi, x_reflection=True))
ms_hello.add(gdstk.Reference(sg13g2_dfrbpq_1, (18.72,30.24), x_reflection=True))
ms_hello.add(gdstk.Reference(sg13g2_buf_1, (24.48,30.24)))
ms_hello.add(gdstk.Reference(sg13g2_decap_8, (29.76,30.24)))
ms_hello.add(gdstk.Reference(sg13g2_fill_2, (41.28,30.24)))
ms_hello.add(gdstk.Reference(sg13g2_fill_2, (33.12,30.24)))
ms_hello.add(gdstk.Reference(sg13g2_decap_8, (36,30.24)))
ms_hello.add(gdstk.Reference(sg13g2_fill_1, (43.68,30.24), x_reflection=True))
ms_hello.add(gdstk.Reference(sg13g2_decap_8, (26.4,30.24)))
ms_hello.add(gdstk.Reference(sg13g2_decap_4, (39.36,30.24)))
ms_hello.add(gdstk.Reference(sg13g2_decap_4, (41.76,30.24), x_reflection=True))
ms_hello.add(gdstk.Reference(sg13g2_decap_8, (35.04,30.24), x_reflection=True))
ms_hello.add(gdstk.Reference(sg13g2_decap_8, (38.4,30.24), x_reflection=True))
ms_hello.add(gdstk.Reference(sg13g2_buf_1, (42.24,30.24)))
ms_hello.add(gdstk.Reference(sg13g2_decap_8, (31.68,30.24), x_reflection=True))
ms_hello.add(gdstk.Reference(sg13g2_buf_1, (36,30.24), rotation=pi, x_reflection=True))
ms_hello.add(gdstk.Reference(via_via3_4_2200_440_1_5_, (36.76,26.46)))
ms_hello.add(gdstk.Reference(via_via3_4_2200_440_1_5_, (36.76,34.02)))
ms_hello.add(gdstk.Reference(via_via3_4_2200_440_1_5_, (42.96,30.24)))
ms_hello.add(gdstk.Reference(via_via2_3_2200_440_1_5_, (36.76,34.02)))
ms_hello.add(gdstk.Reference(via_via2_3_2200_440_1_5_, (36.76,26.46)))
ms_hello.add(gdstk.Reference(via_via2_3_2200_440_1_5_, (42.96,30.24)))
ms_hello.add(gdstk.Reference(via_via1_2_2200_440_1_5_, (42.96,30.24)))
ms_hello.add(gdstk.Reference(via_via1_2_2200_440_1_5_, (36.76,26.46)))
ms_hello.add(gdstk.Reference(via_via1_2_2200_440_1_5_, (36.76,34.02)))
ms_hello.add(gdstk.Reference(via_via1_xy, (35.52,32.34)))
ms_hello.add(gdstk.Reference(via_via1_xy, (31.2,29.4)))
ms_hello.add(gdstk.Reference(via_via1_xy, (42.72,32.34)))
ms_hello.add(gdstk.Reference(via_via1_xy, (25.44,28.56)))
ms_hello.add(gdstk.Reference(via_via1_xy, (24.96,32.34)))
ms_hello.add(gdstk.Reference(via_via2_yx, (31.2,32.34)))
ms_hello.add(gdstk.Reference(via_via2_yx, (42.72,32.34)))
ms_hello.add(gdstk.Reference(via_via2_yx, (35.52,25.62)))
ms_hello.add(gdstk.Reference(via_via2_yx, (25.44,28.56)))
ms_hello.add(gdstk.Reference(via_via1_yy, (25.92,32.76)))
ms_hello.add(gdstk.Reference(via_via1_yy, (43.68,33.18)))
ms_hello.add(gdstk.Reference(via_via1_yy, (34.56,33.18)))
ms_hello.add(gdstk.Reference(sg13g2_decap_8, (12.48,30.24), x_reflection=True))
ms_hello.add(gdstk.Reference(sg13g2_decap_4, (12.48,30.24)))
ms_hello.add(gdstk.Reference(sg13g2_decap_4, (15.84,30.24), x_reflection=True))
ms_hello.add(gdstk.Reference(via_via2_3_2200_440_1_5_, (16.76,26.46)))
ms_hello.add(gdstk.Reference(via_via1_2_2200_440_1_5_, (16.76,26.46)))
ms_hello.add(gdstk.Reference(via_via1_2_2200_440_1_5_, (22.96,30.24)))
ms_hello.add(gdstk.Reference(via_via1_2_2200_440_1_5_, (16.76,34.02)))
ms_hello.add(gdstk.Reference(sg13g2_fill_2, (23.52,30.24)))
ms_hello.add(gdstk.Reference(sg13g2_decap_8, (5.76,30.24)))
ms_hello.add(gdstk.Reference(sg13g2_decap_8, (9.12,30.24)))
ms_hello.add(gdstk.Reference(sg13g2_decap_8, (20.16,30.24)))
ms_hello.add(gdstk.Reference(sg13g2_fill_2, (17.76,30.24), x_reflection=True))
ms_hello.add(gdstk.Reference(via_via1_xy, (21.12,28.56)))
ms_hello.add(gdstk.Reference(sg13g2_buf_1, (14.88,30.24)))
ms_hello.add(gdstk.Reference(sg13g2_fill_1, (14.4,30.24)))
ms_hello.add(gdstk.Reference(via_via1_xy, (15.36,32.34)))
ms_hello.add(gdstk.Reference(via_via3_4_2200_440_1_5_, (16.76,26.46)))
ms_hello.add(gdstk.Reference(via_via3_4_2200_440_1_5_, (16.76,34.02)))
ms_hello.add(gdstk.Reference(sg13g2_decap_8, (16.8,30.24)))
ms_hello.add(gdstk.Reference(via_via2_yx, (19.2,25.62)))
ms_hello.add(gdstk.Reference(via_via2_yx, (16.32,31.08)))
ms_hello.add(gdstk.Reference(sg13g2_decap_8, (9.12,30.24), x_reflection=True))
ms_hello.add(gdstk.Reference(via_via2_yx, (24.48,25.62)))
ms_hello.add(gdstk.Reference(via_via2_yx, (21.12,31.08)))
ms_hello.add(gdstk.Reference(via_via3_4_2200_440_1_5_, (22.96,30.24)))
ms_hello.add(gdstk.Reference(via_via2_yx, (5.28,28.56)))
ms_hello.add(gdstk.Reference(via_via1_yy, (19.2,28.56)))
ms_hello.add(gdstk.Reference(via_via1_yy, (24.48,25.62)))
ms_hello.add(gdstk.Reference(via_via1_yy, (16.32,31.08)))
ms_hello.add(gdstk.Reference(sg13g2_decap_8, (5.76,30.24), x_reflection=True))
ms_hello.add(gdstk.Reference(via_via2_3_2200_440_1_5_, (22.96,30.24)))
ms_hello.add(gdstk.Reference(via_via2_3_2200_440_1_5_, (16.76,34.02)))
ms_hello.add(gdstk.Reference(sg13g2_decap_8, (5.76,15.12)))
ms_hello.add(gdstk.Reference(via_via2_3_2200_440_1_5_, (22.96,15.12)))
ms_hello.add(gdstk.Reference(sg13g2_decap_8, (12.48,15.12)))
ms_hello.add(gdstk.Reference(sg13g2_decap_8, (5.76,22.68), x_reflection=True))
ms_hello.add(gdstk.Reference(via_via3_4_2200_440_1_5_, (22.96,15.12)))
ms_hello.add(gdstk.Reference(via_via3_4_2200_440_1_5_, (16.76,18.9)))
ms_hello.add(gdstk.Reference(via_via2_3_2200_440_1_5_, (16.76,18.9)))
ms_hello.add(gdstk.Reference(via_via1_2_2200_440_1_5_, (16.76,18.9)))
ms_hello.add(gdstk.Reference(sg13g2_decap_8, (12.48,22.68), x_reflection=True))
ms_hello.add(gdstk.Reference(sg13g2_decap_8, (15.84,22.68), x_reflection=True))
ms_hello.add(gdstk.Reference(sg13g2_decap_8, (19.2,22.68), x_reflection=True))
ms_hello.add(gdstk.Reference(via_via1_2_2200_440_1_5_, (22.96,22.68)))
ms_hello.add(gdstk.Reference(sg13g2_decap_8, (15.84,15.12)))
ms_hello.add(gdstk.Reference(via_via3_4_2200_440_1_5_, (22.96,22.68)))
ms_hello.add(gdstk.Reference(via_via1_2_2200_440_1_5_, (22.96,15.12)))
ms_hello.add(gdstk.Reference(sg13g2_decap_8, (9.12,22.68), x_reflection=True))
ms_hello.add(gdstk.Reference(sg13g2_decap_8, (19.2,15.12)))
ms_hello.add(gdstk.Reference(sg13g2_decap_8, (9.12,15.12)))
ms_hello.add(gdstk.Reference(via_via2_3_2200_440_1_5_, (22.96,22.68)))
ms_hello.add(gdstk.Reference(sg13g2_fill_2, (42.72,15.12)))
ms_hello.add(gdstk.Reference(sg13g2_fill_2, (42.72,22.68), x_reflection=True))
ms_hello.add(gdstk.Reference(sg13g2_decap_8, (29.28,15.12)))
ms_hello.add(gdstk.Reference(sg13g2_decap_8, (32.64,15.12)))
ms_hello.add(gdstk.Reference(via_via2_3_2200_440_1_5_, (42.96,15.12)))
ms_hello.add(gdstk.Reference(via_via1_xy, (24.96,24.36)))
ms_hello.add(gdstk.Reference(sg13g2_decap_8, (36,15.12)))
ms_hello.add(gdstk.Reference(sg13g2_fill_1, (43.68,15.12)))
ms_hello.add(gdstk.Reference(via_via2_3_2200_440_1_5_, (42.96,22.68)))
ms_hello.add(gdstk.Reference(via_via2_3_2200_440_1_5_, (36.76,18.9)))
ms_hello.add(gdstk.Reference(sg13g2_fill_1, (43.68,22.68), x_reflection=True))
ms_hello.add(gdstk.Reference(sg13g2_decap_8, (39.36,15.12)))
ms_hello.add(gdstk.Reference(sg13g2_decap_8, (25.92,22.68), x_reflection=True))
ms_hello.add(gdstk.Reference(via_via3_4_2200_440_1_5_, (36.76,18.9)))
ms_hello.add(gdstk.Reference(sg13g2_decap_8, (29.28,22.68), x_reflection=True))
ms_hello.add(gdstk.Reference(sg13g2_decap_8, (32.64,22.68), x_reflection=True))
ms_hello.add(gdstk.Reference(via_via1_2_2200_440_1_5_, (42.96,15.12)))
ms_hello.add(gdstk.Reference(sg13g2_decap_8, (36,22.68), x_reflection=True))
ms_hello.add(gdstk.Reference(sg13g2_decap_8, (25.92,15.12)))
ms_hello.add(gdstk.Reference(via_via1_2_2200_440_1_5_, (36.76,18.9)))
ms_hello.add(gdstk.Reference(via_via3_4_2200_440_1_5_, (42.96,15.12)))
ms_hello.add(gdstk.Reference(via_via3_4_2200_440_1_5_, (42.96,22.68)))
ms_hello.add(gdstk.Reference(sg13g2_decap_8, (39.36,22.68), x_reflection=True))
ms_hello.add(gdstk.Reference(via_via1_2_2200_440_1_5_, (42.96,22.68)))
ms_hello.add(gdstk.Label('a', (24.48,49.8), layer=10, texttype=25))
ms_hello.add(gdstk.Label('clk', (5.28,49.8), layer=10, texttype=25))
ms_hello.add(gdstk.Label('rst_n', (14.88,49.8), layer=10, texttype=25))
ms_hello.add(gdstk.Label('y_comb', (34.08,49.8), layer=10, texttype=25))
ms_hello.add(gdstk.Label('y_reg', (43.68,49.8), layer=10, texttype=25))
ms_hello.add(gdstk.Label('VGND', (22.96,24.57), layer=50, texttype=25))
ms_hello.add(gdstk.Label('VPWR', (16.76,24.57), layer=50, texttype=25))

lib.write_gds('ms_hello.gds')
